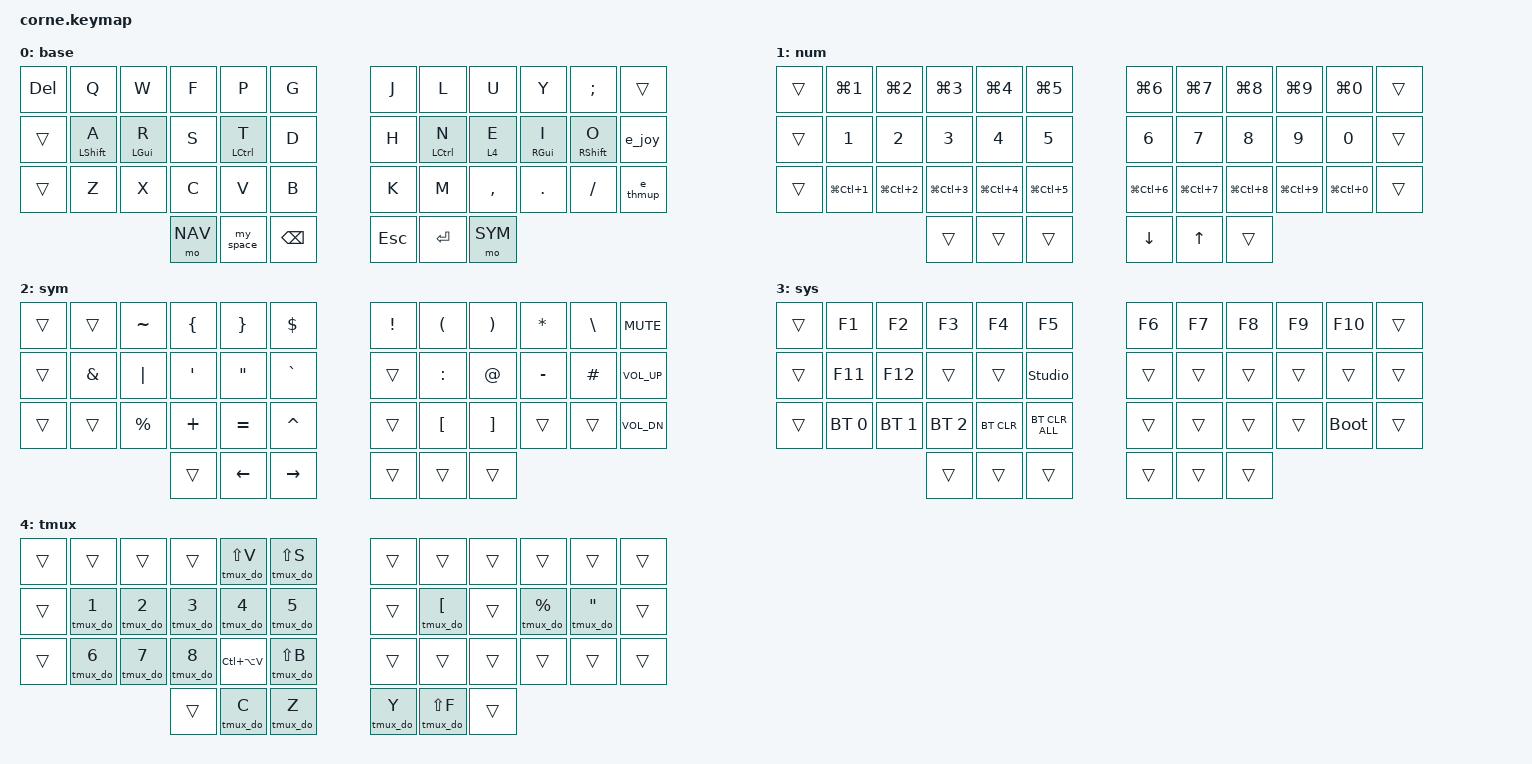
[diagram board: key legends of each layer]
#include <behaviors.dtsi>
#include <dt-bindings/zmk/bt.h>
#include <dt-bindings/zmk/keys.h>

#define DEF 0
#define NAV 1
#define SYM 2
#define SYS 3

/ {
    macros {
        tmux_do: tmux_do {
            compatible = "zmk,behavior-macro-one-param";
            #binding-cells = <1>;
            bindings =
                <&macro_press>,
                <&kp LEFT_CONTROL>,
                <&macro_tap>,
                <&kp B>,
                <&macro_release>,
                <&kp LEFT_CONTROL &macro_param_1to1>,
                <&macro_tap>,
                <&kp MACRO_PLACEHOLDER>;
        };

        e_thmup: e_thmup {
            compatible = "zmk,behavior-macro";
            #binding-cells = <0>;
            bindings = <&macro_tap &kp COLON &kp PLUS &kp N1 &kp COLON>;
        };

        e_joy: e_joy {
            compatible = "zmk,behavior-macro";
            #binding-cells = <0>;
            bindings = <&macro_tap &kp COLON &kp J &kp O &kp Y &kp COLON>;
        };
    };
};

/ {
    behaviors {
        hm: homerow_mods {
            compatible = "zmk,behavior-hold-tap";
            label = "HOMEROW_MODS";
            #binding-cells = <2>;
            tapping-term-ms = <200>;
            quick_tap_ms = <0>;
            flavor = "tap-preferred";
            bindings = <&kp>, <&kp>;

            quick-tap-ms = <180>;
            global-quick-tap;
        };

        my_space: my_space {
            compatible = "zmk,behavior-tap-dance";
            label = "MY_SPACE";
            #binding-cells = <0>;
            bindings = <&kp SPACE>, <&kp UNDER>;
        };

        tmux_layer: tmux_layer {
            compatible = "zmk,behavior-hold-tap";
            label = "TMUX_LAYER";
            bindings = <&mo>, <&kp>;

            #binding-cells = <2>;
            tapping-term-ms = <200>;
            flavor = "balanced";
            quick-tap-ms = <175>;
            require-prior-idle-ms = <150>;
        };
    };

    combos {
        compatible = "zmk,combos";

        combo_tab {
            bindings = <&kp TAB>;
            key-positions = <38 39>;
            timeout-ms = <35>;
        };
    };

    //

    keymap {
        compatible = "zmk,keymap";

        DEF {
            display-name = "base";
            bindings = <
&kp DELETE &kp Q             &kp W          &kp F           &kp P               &kp G              &kp J     &kp L              &kp U            &kp Y            &kp SEMICOLON      &trans
&trans     &hm LEFT_SHIFT A  &hm LEFT_GUI R &kp S           &hm LEFT_CONTROL T  &kp D              &kp H     &hm LEFT_CONTROL N &tmux_layer 4 E  &hm RIGHT_GUI I  &hm RIGHT_SHIFT O  &e_joy
&trans     &kp Z             &kp X          &kp C           &kp V               &kp B              &kp K     &kp M              &kp COMMA        &kp DOT          &kp FSLH           &e_thmup
                                            &mo NAV         &my_space           &kp BACKSPACE      &kp ESCAPE &kp ENTER          &mo SYM
            >;
        };

        NAV {
            display-name = "num";
            bindings = <
&trans  &kp LG(NUMBER_1)  &kp LG(N2)      &kp LG(N3)      &kp LG(N4)      &kp LG(N5)        &kp LG(N6)      &kp LG(N7)      &kp LG(N8)      &kp LG(N9)      &kp LG(N0)      &trans
&trans  &kp N1            &kp N2          &kp N3          &kp N4          &kp N5            &kp N6          &kp N7          &kp N8          &kp N9          &kp N0          &trans
&trans  &kp LG(LC(N1))    &kp LG(LC(N2))  &kp LG(LC(N3))  &kp LG(LC(N4))  &kp LG(LC(N5))    &kp LG(LC(N6))  &kp LG(LC(N7))  &kp LG(LC(N8))  &kp LG(LC(N9))  &kp LG(LC(N0))  &trans
                                          &trans          &trans          &trans            &kp DOWN_ARROW  &kp UP_ARROW    &trans
            >;
        };

        SYM {
            display-name = "sym";
            bindings = <
&trans  &trans         &kp TILDE    &kp LEFT_BRACE    &kp RIGHT_BRACE    &kp DOLLAR         &kp EXCL  &kp LEFT_PARENTHESIS  &kp RIGHT_PARENTHESIS  &kp ASTRK  &kp BACKSLASH  &kp K_MUTE
&trans  &kp AMPERSAND  &kp PIPE     &kp SINGLE_QUOTE  &kp DOUBLE_QUOTES  &kp GRAVE          &trans    &kp COLON             &kp AT                 &kp MINUS  &kp HASH       &kp C_VOLUME_UP
&trans  &trans         &kp PERCENT  &kp PLUS          &kp EQUAL          &kp CARET          &trans    &kp LEFT_BRACKET      &kp RIGHT_BRACKET      &trans     &trans         &kp C_VOL_DN
                                    &trans            &kp LEFT_ARROW     &kp RIGHT_ARROW    &trans    &trans                &trans
            >;
        };

        SYS {
            display-name = "sys";
            bindings = <
&trans  &kp F1        &kp F2        &kp F3        &kp F4      &kp F5            &kp F6  &kp F7  &kp F8  &kp F9  &kp F10      &trans
&trans  &kp F11       &kp F12       &trans        &trans      &studio_unlock    &trans  &trans  &trans  &trans  &trans       &trans
&trans  &bt BT_SEL 0  &bt BT_SEL 1  &bt BT_SEL 2  &bt BT_CLR  &bt BT_CLR_ALL    &trans  &trans  &trans  &trans  &bootloader  &trans
                                    &trans        &trans      &trans            &trans  &trans  &trans
            >;
        };

        tmux {
            bindings = <
&trans  &trans       &trans       &trans       &tmux_do LS(V)  &tmux_do LS(S)    &trans      &trans                 &trans  &trans            &trans                  &trans
&trans  &tmux_do N1  &tmux_do N2  &tmux_do N3  &tmux_do N4     &tmux_do N5       &trans      &tmux_do LEFT_BRACKET  &trans  &tmux_do PERCENT  &tmux_do DOUBLE_QUOTES  &trans
&trans  &tmux_do N6  &tmux_do N7  &tmux_do N8  &kp LC(LA(V))   &tmux_do LS(B)    &trans      &trans                 &trans  &trans            &trans                  &trans
                                  &trans       &tmux_do C      &tmux_do Z        &tmux_do Y  &tmux_do LS(F)         &trans
            >;

            label = "tmux";
        };
    };

    conditional_layers {
        compatible = "zmk,conditional-layers";

        l3 {
            if-layers = <1 2>;
            then-layer = <3>;
        };
    };
};
